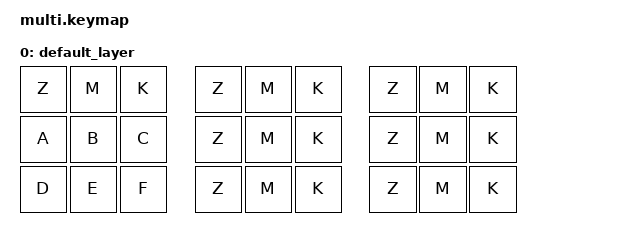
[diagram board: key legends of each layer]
#include <behaviors.dtsi>
#include <dt-bindings/zmk/keys.h>

/ {
    keymap {
        compatible = "zmk,keymap";

        default_layer { // Layer 0
            // -------------------------------------        -------------------------------------       -------------------------------------
            // |     Z     |     M     |     K     |        |     Z     |     M     |     K     |       |     Z     |     M     |     K     |
            // |     A     |     B     |     C     |        |     A     |     B     |     C     |       |     A     |     B     |     C     |
            // |     D     |     E     |     F     |        |     D     |     E     |     F     |       |     D     |     E     |     F     |
            // -------------------------------------        -------------------------------------       -------------------------------------
            bindings = <
                &kp Z    &kp M    &kp K         &kp Z    &kp M    &kp K         &kp Z    &kp M    &kp K
                &kp A    &kp B    &kp C         &kp Z    &kp M    &kp K         &kp Z    &kp M    &kp K
                &kp D    &kp E    &kp F         &kp Z    &kp M    &kp K         &kp Z    &kp M    &kp K
            >;
        };
    };
 };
